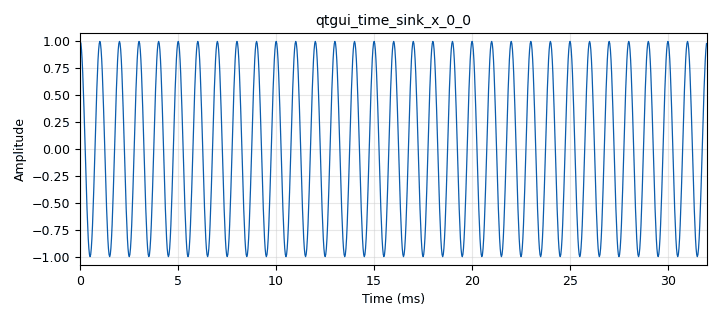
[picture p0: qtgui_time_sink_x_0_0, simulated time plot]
<?xml version='1.0' encoding='utf-8'?>
<?grc format='1' created='3.7.11'?>
<flow_graph>
<block>
<key>options</key>
<param><key>id</key><value>top_block</value></param>
<param><key>generate_options</key><value>qt_gui</value></param>
</block>
<block>
<key>variable</key>
<param><key>id</key><value>A</value></param>
<param><key>value</key><value>1</value></param>
</block>
<block>
<key>variable</key>
<param><key>id</key><value>Fs</value></param>
<param><key>value</key><value>32000</value></param>
</block>
<block>
<key>variable_qtgui_range</key>
<param><key>id</key><value>N</value></param>
<param><key>value</key><value>200</value></param>
<param><key>orient</key><value>Qt.Horizontal</value></param>
<param><key>start</key><value>1</value></param>
<param><key>step</key><value>10</value></param>
<param><key>stop</key><value>1000</value></param>
</block>
<block>
<key>variable_qtgui_range</key>
<param><key>id</key><value>alfa</value></param>
<param><key>value</key><value>0.5</value></param>
<param><key>orient</key><value>Qt.Horizontal</value></param>
<param><key>start</key><value>0</value></param>
<param><key>step</key><value>0.1</value></param>
<param><key>stop</key><value>10</value></param>
</block>
<block>
<key>variable_qtgui_range</key>
<param><key>id</key><value>f0</value></param>
<param><key>value</key><value>1000</value></param>
<param><key>orient</key><value>Qt.Horizontal</value></param>
<param><key>start</key><value>1</value></param>
<param><key>step</key><value>10</value></param>
<param><key>stop</key><value>3000</value></param>
</block>
<block>
<key>variable_qtgui_range</key>
<param><key>id</key><value>fl</value></param>
<param><key>value</key><value>1000</value></param>
<param><key>orient</key><value>Qt.Horizontal</value></param>
<param><key>start</key><value>1</value></param>
<param><key>step</key><value>10</value></param>
<param><key>stop</key><value>3000</value></param>
</block>
<block>
<key>variable</key>
<param><key>id</key><value>phiL</value></param>
<param><key>value</key><value>fl/Fs</value></param>
</block>
<block>
<key>analog_sig_source_x</key>
<param><key>id</key><value>analog_sig_source_x_0</value></param>
<param><key>amp</key><value>1</value></param>
<param><key>freq</key><value>f0</value></param>
<param><key>offset</key><value>0</value></param>
<param><key>type</key><value>float</value></param>
<param><key>samp_rate</key><value>Fs</value></param>
<param><key>waveform</key><value>analog.GR_COS_WAVE</value></param>
</block>
<block>
<key>blocks_throttle</key>
<param><key>id</key><value>blocks_throttle_0</value></param>
<param><key>samples_per_second</key><value>Fs</value></param>
<param><key>type</key><value>float</value></param>
</block>
<block>
<key>epy_module</key>
<param><key>id</key><value>filterspecs</value></param>
<param><key>source_code</key><value># this module will be imported in the into your flowgraph
# File: filtspecs.py
# Module for filter specfifications
# FIR: Determine filter taps
# IIR: Determine numerator (b) and denominator (a)
# polynomial coefficients

from pylab import *
from scipy.signal import butter

def trapfilt_taps(N, phiL, alfa):
    """
    Returns taps for order N FIR LPF with trapezoidal frequency
    response, normalized cutoff frequency phiL = fL/Fs, and rolloff
    parameter alfa.
    &gt;&gt;&gt;&gt;&gt; hLn = trapfilt_taps(N, phiL, alfa) &lt;&lt;&lt;&lt;&lt;
    where
        N: filter order
        phiL: normalized cutoff frequency (-6 dB)
        alfa: frequency rolloff parameter, linear rolloff over range (1-alfa)phiL &lt;= |f| &lt;= (1+alfa)phiL
    """
    tth = arange(-N/2.0,N-(N/2.0)) # Time axis for h(t)
    hLn_num = (sin(2*pi*phiL*tth)*sin(2*pi*alfa*phiL*tth))
    hLn_den = (pi*tth*2*pi*alfa*phiL*tth)
    nans = where(hLn_den==0)
    for i in nans:
        hLn_den[i]=1 # ht[i-1]
        hLn_num[i]=2*phiL # ht[i-1]
    hLn = hLn_num/hLn_den
    return hLn
</value></param>
</block>
<block>
<key>interp_fir_filter_xxx</key>
<param><key>id</key><value>interp_fir_filter_xxx_0</value></param>
<param><key>interp</key><value>1</value></param>
<param><key>taps</key><value>filterspecs.trapfilt_taps(N, phiL, alfa)</value></param>
<param><key>type</key><value>fff</value></param>
</block>
<block>
<key>qtgui_time_sink_x</key>
<param><key>id</key><value>qtgui_time_sink_x_0</value></param>
<param><key>color1</key><value>"blue"</value></param>
<param><key>label1</key><value></value></param>
<param><key>size</key><value>1024</value></param>
<param><key>srate</key><value>Fs</value></param>
<param><key>type</key><value>float</value></param>
</block>
<block>
<key>qtgui_time_sink_x</key>
<param><key>id</key><value>qtgui_time_sink_x_0_0</value></param>
<param><key>color1</key><value>"blue"</value></param>
<param><key>label1</key><value></value></param>
<param><key>size</key><value>1024</value></param>
<param><key>srate</key><value>Fs</value></param>
<param><key>type</key><value>float</value></param>
</block>
<connection><source_block_id>analog_sig_source_x_0</source_block_id><sink_block_id>blocks_throttle_0</sink_block_id><source_key>0</source_key><sink_key>0</sink_key></connection>
<connection><source_block_id>blocks_throttle_0</source_block_id><sink_block_id>interp_fir_filter_xxx_0</sink_block_id><source_key>0</source_key><sink_key>0</sink_key></connection>
<connection><source_block_id>blocks_throttle_0</source_block_id><sink_block_id>qtgui_time_sink_x_0_0</sink_block_id><source_key>0</source_key><sink_key>0</sink_key></connection>
<connection><source_block_id>interp_fir_filter_xxx_0</source_block_id><sink_block_id>qtgui_time_sink_x_0</sink_block_id><source_key>0</source_key><sink_key>0</sink_key></connection>
</flow_graph>
